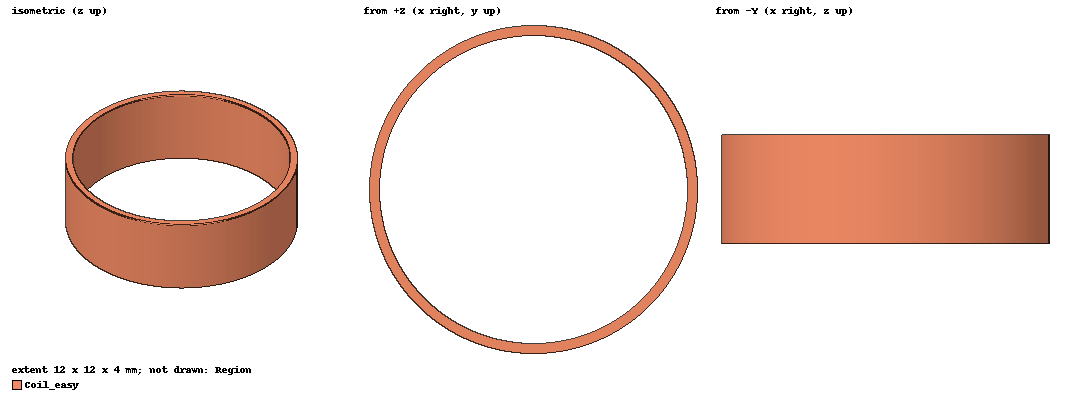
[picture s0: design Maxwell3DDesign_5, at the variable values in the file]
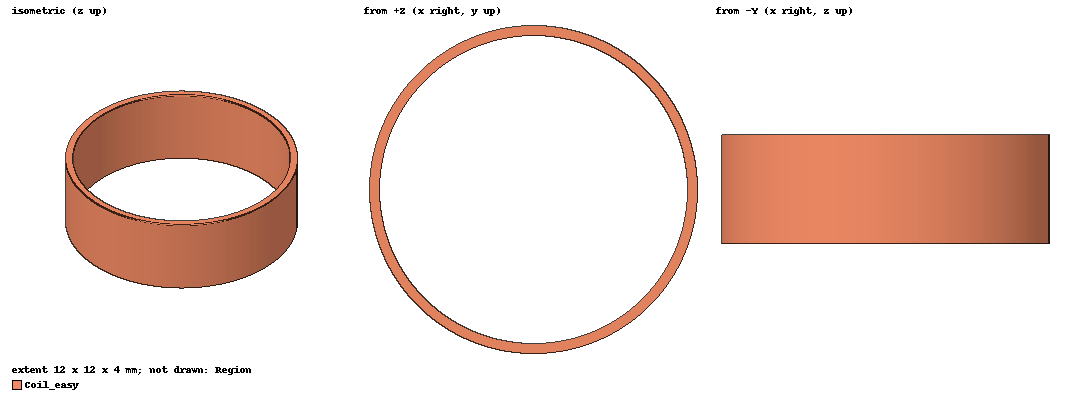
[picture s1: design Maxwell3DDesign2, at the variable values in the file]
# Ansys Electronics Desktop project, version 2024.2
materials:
  vacuum: permittivity=1
  copper: permeability=0.999991 conductivity=58000000

design Maxwell3DDesign_5 (Maxwell 3D, Magnetostatic, model units mm)
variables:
  wire = 0.05mm
  N = 40
  coil = 6mm
  m = 2.4mm
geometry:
  Region [vacuum] = box(corner=(18.081505mm, 18.081505mm, -4.1700005mm), size=(-36.163009mm, -36.163009mm, 12.360001mm))
  point 1 = (5.7995mm, 0mm, 0mm)
  point 1 = (0mm, 0mm, 0mm)
  Coil_easy [copper] = cylinder(axis=Z, base_centre=(0mm, 0mm, 0mm), radius=6mm, height=4mm)
  Cylinder3 = cylinder(axis=Z, base_centre=(0mm, 0mm, 0mm), radius=5.6320511mm, height=4mm)
  Coil_easy.subtract(Cylinder3)
  Coil_easy_Section1 = Coil_easy.section(plane=ZX)
  Coil_easy_Section1_Separate1 [copper] = Coil_easy_Section1.separate_bodies()
  Coil_easy_Section1.delete()
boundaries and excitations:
  CoilTerminal1: Coil Terminal Objects=Coil_easy_Section1_Separate1 Conductor_number=40*3 Winding=Winding1 Point_out_of_terminal=false
  Winding1: Winding Group Type=Current IsSolid=false Current=500mA ParallelBranchesNum=1
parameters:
  Matrix1: Matrix Winding1: NumberOfTurns=1
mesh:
  Length1: LengthBased RefineInside Objects=Coil_easy MaxLength=0.1mm
  initial mesh: GlobalCurvilinear{Apply}
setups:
  Setup1: Magnetostatic MaximumPasses=10 MinimumPasses=2 MinimumConvergedPasses=1 PercentRefinement=30 PercentError=1 NonLinearResidual=0.001
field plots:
  Mag_B1: B in Region on Setup1 : LastAdaptive
  B_Vector1: B in Coil_easy on Setup1 : LastAdaptive
  Mesh1: MeshPlots in Coil_easy on Setup1 : LastAdaptive
  energy1: Energy in Coil_easy on Setup1 : LastAdaptive
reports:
  L Table 1: Matrix1.L(Winding1,Winding1), Matrix1.Lnom(Winding1,Winding1), Matrix1.L(Winding1,Winding1), StrandedLoss, SolidLoss, PerWindingStrandedLoss(Winding1), FluxLinkage(Winding1), InputCurrent(Winding1) vs wire on Setup1 : LastAdaptive
  Loss Table 1: SolidLoss vs wire on Setup1 : LastAdaptive
  L: Matrix1.L(Winding1,Winding1) vs Area(Coil_easy_Section1_Separate1) on Setup1 : AdaptivePass [Pass=all wire=all N=all coil=all m=all]

design Maxwell3DDesign2 (Maxwell 3D, EddyCurrent, model units mm)
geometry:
  Coil_easy [copper] = cylinder(axis=Z, base_centre=(0mm, 0mm, 0mm), radius=6mm, height=4mm)
  Cylinder3 = cylinder(axis=Z, base_centre=(0mm, 0mm, 0mm), radius=5.6320511mm, height=4mm)
  Coil_easy.subtract(Cylinder3)
  Region [vacuum] = box(corner=(18.081505mm, 18.081505mm, -4.1700005mm), size=(-36.163009mm, -36.163009mm, 12.360001mm))
  Coil_easy1 = cylinder(axis=Z, base_centre=(0mm, 0mm, 0mm), radius=6mm, height=4mm)
  Cylinder4 = cylinder(axis=Z, base_centre=(0mm, 0mm, 0mm), radius=5.6320511mm, height=4mm)
  Coil_easy1.subtract(Cylinder4)
  Coil_easy_Section1 = Coil_easy1.section(plane=ZX)
  Coil_easy_Section1_Separate1 [copper] = Coil_easy_Section1.separate_bodies()
  [Coil_easy1, Coil_easy_Section1].delete()
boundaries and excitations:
  CoilTerminal1: Coil Terminal Objects=Coil_easy_Section1_Separate1 Conductor_number=40*3 Winding=Winding1 Point_out_of_terminal=false
  Winding1: Winding Group Type=Current IsSolid=false Current=500mA ParallelBranchesNum=120 Phase=0deg
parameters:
  Matrix1: Matrix Winding1:
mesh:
  Length1: LengthBased RefineInside Objects=Coil_easy MaxLength=1mm
  initial mesh: GlobalCurvilinear{Apply}
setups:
  Setup1: EddyCurrent MaximumPasses=10 MinimumPasses=2 MinimumConvergedPasses=1 PercentRefinement=30 PercentError=1 NonLinearResidual=0.0001 Frequency=60Hz LossAdaptiveCtrl=0.5
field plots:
  Mesh1: MeshPlots in Coil_easy on Setup1 : LastAdaptive at Freq=60Hz Phase=0deg
  Mag_B1: B in Region on Setup1 : LastAdaptive at Freq=60Hz Phase=0deg

design Maxwell3DDesign3 (Maxwell 3D, Magnetostatic, model units mm)
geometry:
  Cylinder3 = cylinder(axis=Z, base_centre=(0mm, 0mm, 0mm), radius=5.6320511mm, height=4mm)
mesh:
  initial mesh: GlobalCurvilinear{Apply}
